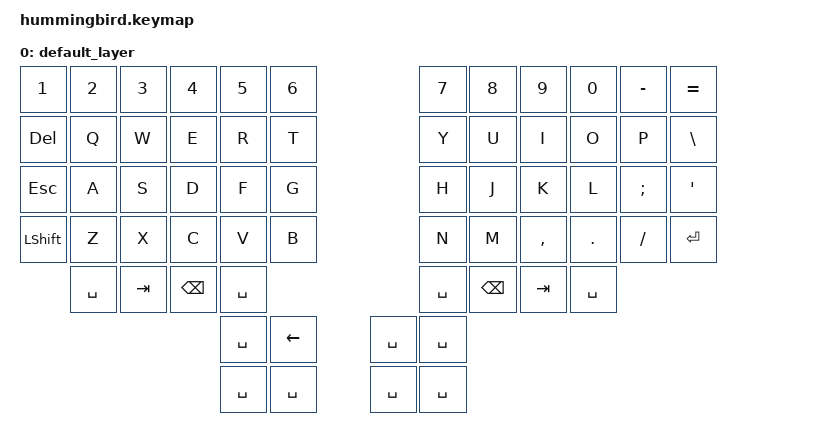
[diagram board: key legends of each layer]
/*
 * Copyright (c) 2022 The ZMK Contributors
 *
 * SPDX-License-Identifier: MIT
 */

#include <behaviors.dtsi>
#include <dt-bindings/zmk/keys.h>

#define DEF_L 0
#define NAV_L 1
#define NUM_L 2
#define SYM_L 3

// Using layer taps on thumbs, having quick tap as well helps w/ repeating space/backspace
&lt { quick-tap-ms = <200>; };

/ {
    behaviors {
        hm: homerow_mods {
            compatible = "zmk,behavior-hold-tap";
            #binding-cells = <2>;
            tapping-term-ms = <225>;
            flavor = "tap-preferred";
            bindings = <&kp>, <&kp>;
        };
    };

    combos {
        compatible = "zmk,combos";
        combo_z {
            timeout-ms = <50>;
            key-positions = <20 21>;
            bindings = <&kp Z>;
        };
        combo_b {
            timeout-ms = <50>;
            key-positions = <21 22>;
            bindings = <&kp B>;
        };

        combo_y {
            timeout-ms = <50>;
            key-positions = <23 24>;
            bindings = <&kp Y>;
        };

        combo_slash {
            timeout-ms = <50>;
            key-positions = <24 25>;
            bindings = <&kp SLASH>;
        };
    };

keymap {
        compatible = "zmk,keymap";

        default_layer {
            bindings = <
                &kp N1         &kp N2        &kp N3   &kp N4         &kp N5   &kp N6                                        &kp N7        &kp N8 &kp N9    &kp N0 &kp MINUS &kp EQUAL
                &kp DEL        &kp Q         &kp W    &kp E          &kp R    &kp T                                         &kp Y         &kp U  &kp I     &kp O   &kp P    &kp BSLH
                &kp ESC        &kp A         &kp S    &kp D          &kp F    &kp G                                         &kp H         &kp J  &kp K     &kp L   &kp SEMI &kp APOS
                &kp LSHFT      &kp Z         &kp X    &kp C          &kp V    &kp B                                         &kp N         &kp M  &kp COMMA &kp DOT &kp FSLH &kp ENTER
                               &kp SPACE     &kp TAB  &kp BSPC       &kp SPACE                                              &kp SPACE     &kp BSPC  &kp TAB &kp SPACE
                                                                     &kp SPACE  &kp LEFT                          &kp SPACE  &kp SPACE
                                                                     &kp SPACE  &kp SPACE                         &kp SPACE  &kp SPACE
            >;
        };
    };
};
